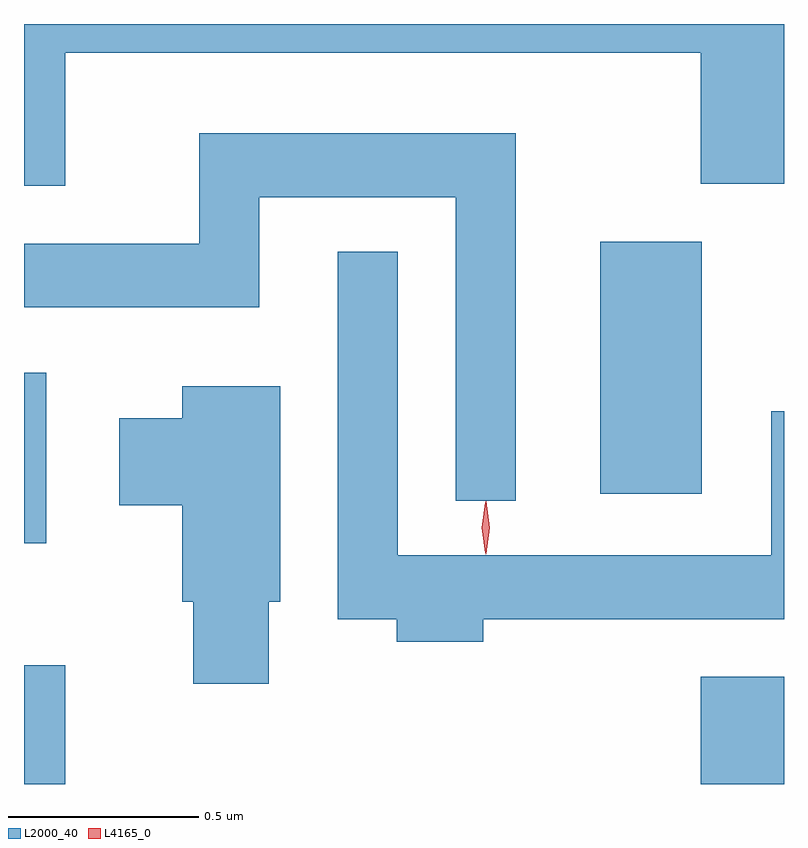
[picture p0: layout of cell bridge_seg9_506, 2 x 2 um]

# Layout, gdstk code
import gdstk
lib = gdstk.Library(unit=1e-6, precision=1e-09)
def R(c, l, rs):  # rectangles x0, y0, x1, y1
    for r in rs: c.add(gdstk.rectangle(r[:2], r[2:], *l))
def P(c, l, *ps):  # polygons
    for p in ps: c.add(gdstk.Polygon(p, *l))
L2000_40 = (2000, 40)
L4165_0 = (4165, 0)

bridge_seg9_506 = lib.new_cell('bridge_seg9_506')
R(bridge_seg9_506, L2000_40, [(619.63,1947.712,619.739,1948.024), (621.411,1947.712,621.63,1947.994), (619.63,1948.346,619.689,1948.794), (621.146,1948.476,621.414,1949.139)])
P(bridge_seg9_506, L2000_40, [(619.739,1949.636),(621.411,1949.636),(621.411,1949.291),(621.63,1949.291),(621.63,1949.712),(619.63,1949.712),(619.63,1949.286),(619.739,1949.286)],
  [(620.924,1949.424),(620.091,1949.424),(620.091,1949.134),(619.63,1949.134),(619.63,1948.966),(620.249,1948.966),(620.249,1949.256),(620.766,1949.256),(620.766,1948.458),(620.924,1948.458)],
  [(620.839,1948.146),(621.63,1948.146),(621.63,1948.693),(621.596,1948.693),(621.596,1948.314),(620.614,1948.314),(620.614,1949.113),(620.456,1949.113),(620.456,1948.146),(620.611,1948.146),(620.611,1948.086),(620.839,1948.086)],
  [(620.274,1948.191),(620.304,1948.191),(620.304,1948.759),(620.046,1948.759),(620.046,1948.674),(619.881,1948.674),(619.881,1948.446),(620.046,1948.446),(620.046,1948.191),(620.076,1948.191),(620.076,1947.976),(620.274,1947.976)])
P(bridge_seg9_506, L4165_0, [(620.845,1948.317),(620.845,1948.318),(620.835,1948.387),(620.845,1948.456),(620.845,1948.456),(620.846,1948.456),(620.855,1948.387),(620.846,1948.318)],
  [(620.845,1948.319),(620.844,1948.32),(620.835,1948.386),(620.844,1948.452),(620.845,1948.453),(620.846,1948.452),(620.855,1948.386),(620.846,1948.32)])

lib.write_gds('bridge_seg9_506.gds')
